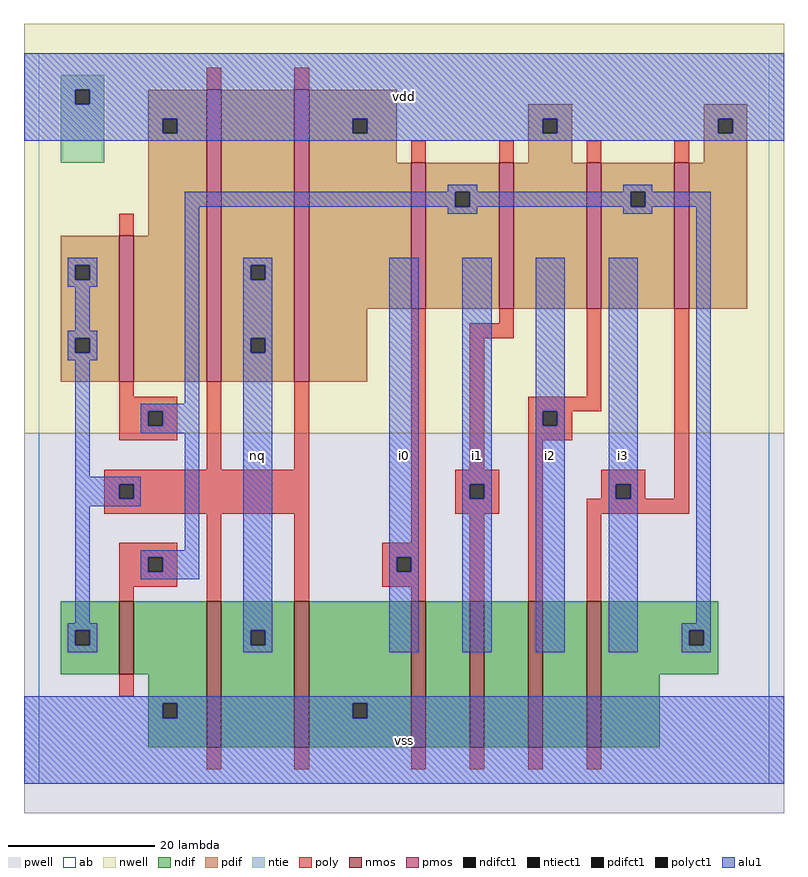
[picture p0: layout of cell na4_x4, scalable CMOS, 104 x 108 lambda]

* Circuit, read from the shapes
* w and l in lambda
.subckt na4_x4 i0 i1 i2 i3 nq vdd vss
M1 vss n1 n2 VSUBS nfet w=10 l=2
M2 nq n2 vss VSUBS nfet w=20 l=2 m=2
M3 n3 i0 vss VSUBS nfet w=20 l=2
M4 n4 i1 n3 VSUBS nfet w=20 l=2
M5 n5 i2 n4 VSUBS nfet w=20 l=2
M6 n1 i3 n5 VSUBS nfet w=20 l=2
M7 vdd n1 n2 vdd pfet w=20 l=2
M8 nq n2 vdd vdd pfet w=40 l=2 m=2
M9 n1 i0 vdd vdd pfet w=20 l=2
M10 vdd i1 n1 vdd pfet w=20 l=2
M11 n1 i2 vdd vdd pfet w=20 l=2
M12 vdd i3 n1 vdd pfet w=20 l=2
.ends

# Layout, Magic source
magic
tech scmos
<< ab >>
rect 0 0 100 100
<< nwell >>
rect -2 48 102 104
<< pwell >>
rect -2 -4 102 48
<< poly >>
rect 23 95 25 98
rect 35 95 37 98
rect 11 75 13 78
rect 51 85 53 88
rect 63 85 65 88
rect 75 85 77 88
rect 87 85 89 88
rect 11 53 13 55
rect 11 51 19 53
rect 11 49 15 51
rect 17 49 19 51
rect 11 47 19 49
rect 23 43 25 55
rect 35 43 37 55
rect 9 41 37 43
rect 9 39 11 41
rect 13 39 37 41
rect 9 37 37 39
rect 11 31 19 33
rect 11 29 15 31
rect 17 29 19 31
rect 11 27 19 29
rect 11 25 13 27
rect 23 25 25 37
rect 35 25 37 37
rect 51 33 53 65
rect 63 63 65 65
rect 59 61 65 63
rect 59 43 61 61
rect 75 53 77 65
rect 67 51 77 53
rect 67 49 69 51
rect 71 49 73 51
rect 67 47 73 49
rect 57 41 63 43
rect 57 39 59 41
rect 61 39 63 41
rect 57 37 63 39
rect 47 31 53 33
rect 47 29 49 31
rect 51 29 53 31
rect 47 27 53 29
rect 51 25 53 27
rect 59 25 61 37
rect 67 25 69 47
rect 77 41 83 43
rect 77 39 79 41
rect 81 39 83 41
rect 87 39 89 65
rect 75 37 89 39
rect 75 25 77 37
rect 11 12 13 15
rect 23 2 25 5
rect 35 2 37 5
rect 51 2 53 5
rect 59 2 61 5
rect 67 2 69 5
rect 75 2 77 5
<< ndif >>
rect 3 21 11 25
rect 3 19 5 21
rect 7 19 11 21
rect 3 15 11 19
rect 13 15 23 25
rect 15 11 23 15
rect 15 9 17 11
rect 19 9 23 11
rect 15 5 23 9
rect 25 21 35 25
rect 25 19 29 21
rect 31 19 35 21
rect 25 5 35 19
rect 37 11 51 25
rect 37 9 43 11
rect 45 9 51 11
rect 37 5 51 9
rect 53 5 59 25
rect 61 5 67 25
rect 69 5 75 25
rect 77 21 93 25
rect 77 19 89 21
rect 91 19 93 21
rect 77 15 93 19
rect 77 5 85 15
<< pdif >>
rect 15 91 23 95
rect 15 89 17 91
rect 19 89 23 91
rect 15 75 23 89
rect 3 71 11 75
rect 3 69 5 71
rect 7 69 11 71
rect 3 61 11 69
rect 3 59 5 61
rect 7 59 11 61
rect 3 55 11 59
rect 13 55 23 75
rect 25 71 35 95
rect 25 69 29 71
rect 31 69 35 71
rect 25 61 35 69
rect 25 59 29 61
rect 31 59 35 61
rect 25 55 35 59
rect 37 91 49 95
rect 37 89 43 91
rect 45 89 49 91
rect 37 85 49 89
rect 67 91 73 93
rect 67 89 69 91
rect 71 89 73 91
rect 67 85 73 89
rect 91 91 97 93
rect 91 89 93 91
rect 95 89 97 91
rect 91 85 97 89
rect 37 65 51 85
rect 53 81 63 85
rect 53 79 57 81
rect 59 79 63 81
rect 53 65 63 79
rect 65 65 75 85
rect 77 81 87 85
rect 77 79 81 81
rect 83 79 87 81
rect 77 65 87 79
rect 89 65 97 85
rect 37 55 45 65
<< alu1 >>
rect -2 95 102 100
rect -2 93 5 95
rect 7 93 102 95
rect -2 91 102 93
rect -2 89 17 91
rect 19 89 43 91
rect 45 89 69 91
rect 71 89 93 91
rect 95 89 102 91
rect -2 88 102 89
rect 56 81 60 82
rect 80 81 84 82
rect 20 79 57 81
rect 59 79 81 81
rect 83 79 92 81
rect 4 71 8 72
rect 4 69 5 71
rect 7 69 8 71
rect 4 68 8 69
rect 5 62 7 68
rect 4 61 8 62
rect 4 59 5 61
rect 7 59 8 61
rect 4 58 8 59
rect 5 42 7 58
rect 20 52 22 79
rect 56 78 60 79
rect 80 78 84 79
rect 14 51 22 52
rect 14 49 15 51
rect 17 49 22 51
rect 14 48 22 49
rect 5 41 14 42
rect 5 39 11 41
rect 13 39 14 41
rect 5 38 14 39
rect 5 22 7 38
rect 20 32 22 48
rect 14 31 22 32
rect 14 29 15 31
rect 17 29 22 31
rect 14 28 22 29
rect 28 71 32 72
rect 28 69 29 71
rect 31 69 32 71
rect 28 61 32 69
rect 28 59 29 61
rect 31 59 32 61
rect 4 21 8 22
rect 4 19 5 21
rect 7 19 8 21
rect 4 18 8 19
rect 28 21 32 59
rect 28 19 29 21
rect 31 19 32 21
rect 28 18 32 19
rect 48 31 52 72
rect 48 29 49 31
rect 51 29 52 31
rect 48 18 52 29
rect 58 41 62 72
rect 58 39 59 41
rect 61 39 62 41
rect 58 18 62 39
rect 68 51 72 72
rect 68 49 69 51
rect 71 49 72 51
rect 68 18 72 49
rect 78 41 82 72
rect 78 39 79 41
rect 81 39 82 41
rect 78 18 82 39
rect 90 22 92 79
rect 88 21 92 22
rect 88 19 89 21
rect 91 19 92 21
rect 88 18 92 19
rect -2 11 102 12
rect -2 9 17 11
rect 19 9 43 11
rect 45 9 102 11
rect -2 0 102 9
<< ntie >>
rect 3 95 9 97
rect 3 93 5 95
rect 7 93 9 95
rect 3 85 9 93
<< nmos >>
rect 11 15 13 25
rect 23 5 25 25
rect 35 5 37 25
rect 51 5 53 25
rect 59 5 61 25
rect 67 5 69 25
rect 75 5 77 25
<< pmos >>
rect 11 55 13 75
rect 23 55 25 95
rect 35 55 37 95
rect 51 65 53 85
rect 63 65 65 85
rect 75 65 77 85
rect 87 65 89 85
<< polyct1 >>
rect 15 49 17 51
rect 11 39 13 41
rect 15 29 17 31
rect 69 49 71 51
rect 59 39 61 41
rect 49 29 51 31
rect 79 39 81 41
<< ndifct1 >>
rect 5 19 7 21
rect 17 9 19 11
rect 29 19 31 21
rect 43 9 45 11
rect 89 19 91 21
<< ntiect1 >>
rect 5 93 7 95
<< pdifct1 >>
rect 17 89 19 91
rect 5 69 7 71
rect 5 59 7 61
rect 29 69 31 71
rect 29 59 31 61
rect 43 89 45 91
rect 69 89 71 91
rect 93 89 95 91
rect 57 79 59 81
rect 81 79 83 81
<< labels >>
rlabel alu1 30 45 30 45 6 nq
rlabel alu1 50 6 50 6 6 vss
rlabel alu1 50 45 50 45 6 i0
rlabel alu1 70 45 70 45 6 i2
rlabel alu1 60 45 60 45 6 i1
rlabel alu1 50 94 50 94 6 vdd
rlabel alu1 80 45 80 45 6 i3
<< end >>
